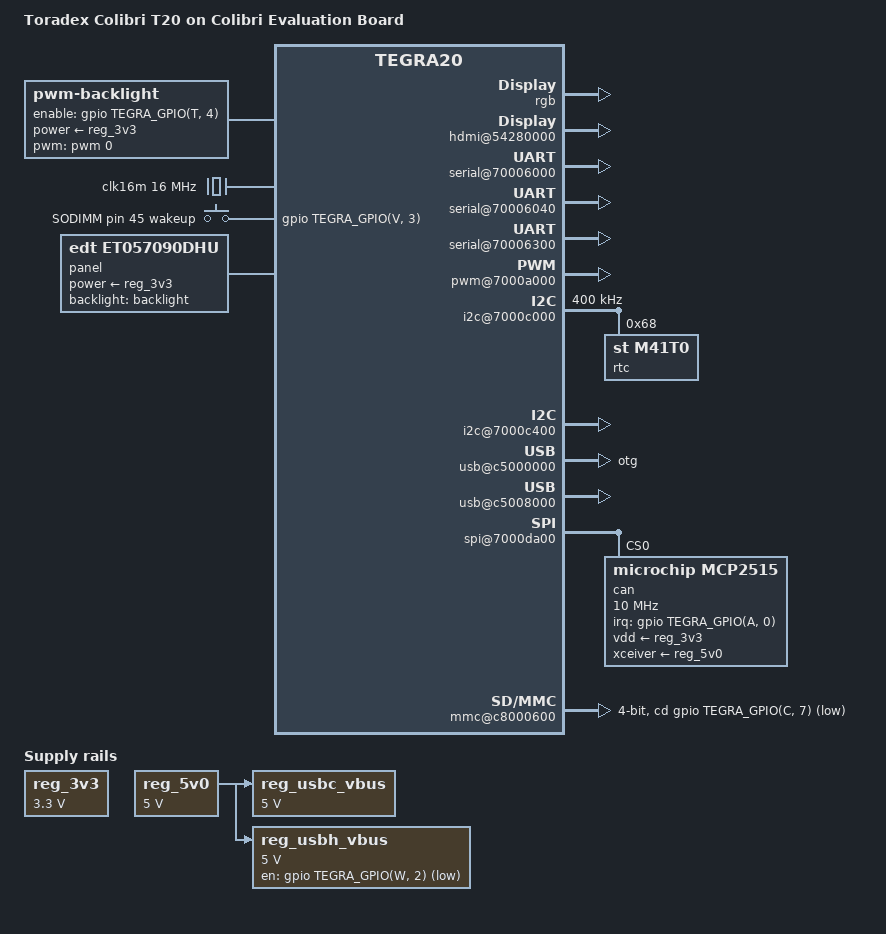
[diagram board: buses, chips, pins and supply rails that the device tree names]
// SPDX-License-Identifier: GPL-2.0 OR MIT
/dts-v1/;

#include <dt-bindings/input/input.h>
#include "tegra20-colibri.dtsi"

/ {
	model = "Toradex Colibri T20 on Colibri Evaluation Board";
	compatible = "toradex,colibri_t20-eval-v3", "toradex,colibri_t20",
		     "nvidia,tegra20";

	aliases {
		rtc0 = "/i2c@7000c000/rtc@68";
		rtc1 = "/i2c@7000d000/pmic@34";
		rtc2 = "/rtc@7000e000";
		serial0 = &uarta;
		serial1 = &uartd;
		serial2 = &uartb;
	};

	chosen {
		stdout-path = "serial0:115200n8";
	};

	host1x@50000000 {
		dc@54200000 {
			rgb {
				status = "okay";
				nvidia,panel = <&panel>;
			};
		};

		hdmi@54280000 {
			status = "okay";
			hdmi-supply = <&reg_5v0>;
		};
	};

	pinmux@70000014 {
		state_default: pinmux {
			bl-on {
				nvidia,tristate = <TEGRA_PIN_DISABLE>;
			};

			ddc {
				nvidia,tristate = <TEGRA_PIN_DISABLE>;
			};

			hotplug-detect {
				nvidia,tristate = <TEGRA_PIN_DISABLE>;
			};

			i2c {
				nvidia,tristate = <TEGRA_PIN_DISABLE>;
			};

			lcd {
				nvidia,tristate = <TEGRA_PIN_DISABLE>;
			};

			lm1 {
				nvidia,tristate = <TEGRA_PIN_DISABLE>;
			};

			mmc {
				nvidia,tristate = <TEGRA_PIN_DISABLE>;
			};

			mmccd {
				nvidia,tristate = <TEGRA_PIN_DISABLE>;
			};

			sdc {
				nvidia,tristate = <TEGRA_PIN_DISABLE>;
			};

			sdb_sdd {
				nvidia,tristate = <TEGRA_PIN_DISABLE>;
			};

			ssp {
				nvidia,tristate = <TEGRA_PIN_DISABLE>;
			};

			uart-a {
				nvidia,tristate = <TEGRA_PIN_DISABLE>;
			};

			uart-b {
				nvidia,tristate = <TEGRA_PIN_DISABLE>;
			};

			uart-c {
				nvidia,tristate = <TEGRA_PIN_DISABLE>;
			};

			usbh-pen {
				nvidia,tristate = <TEGRA_PIN_DISABLE>;
			};
		};
	};

	/* Colibri UART-A */
	serial@70006000 {
		status = "okay";
	};

	/* Colibri UART-C */
	serial@70006040 {
		status = "okay";
	};

	/* Colibri UART-B */
	serial@70006300 {
		status = "okay";
	};

	pwm@7000a000 {
		status = "okay";
	};

	/*
	 * GEN1_I2C: I2C_SDA/SCL on SODIMM pin 194/196 (e.g. RTC on carrier
	 * board)
	 */
	i2c@7000c000 {
		status = "okay";
		clock-frequency = <400000>;

		/* M41T0M6 real time clock on carrier board */
		rtc@68 {
			compatible = "st,m41t0";
			reg = <0x68>;
		};
	};

	/* GEN2_I2C: unused */

	/* CAM_I2C (I2C3): unused */

	/* DDC_CLOCK/DATA on X3 pin 15/16 (e.g. display EDID) */
	i2c@7000c400 {
		status = "okay";
	};

	/* EHCI instance 0: USB1_DP/N -> USBC_P/N */
	usb@c5000000 {
		status = "okay";
		dr_mode = "otg";
	};

	usb-phy@c5000000 {
		status = "okay";
		vbus-supply = <&reg_usbc_vbus>;
	};

	/* EHCI instance 2: USB3_DP/N -> USBH_P/N */
	usb@c5008000 {
		status = "okay";
	};

	usb-phy@c5008000 {
		status = "okay";
		vbus-supply = <&reg_usbh_vbus>;
	};

	/* SPI4: Colibri SSP */
	spi@7000da00 {
		status = "okay";
		spi-max-frequency = <25000000>;

		can@0 {
			compatible = "microchip,mcp2515";
			reg = <0>;
			clocks = <&clk16m>;
			interrupt-parent = <&gpio>;
			/* CAN_INT */
			interrupts = <TEGRA_GPIO(A, 0) IRQ_TYPE_EDGE_FALLING>;
			spi-max-frequency = <10000000>;
			vdd-supply = <&reg_3v3>;
			xceiver-supply = <&reg_5v0>;
		};
	};

	/* SD/MMC */
	mmc@c8000600 {
		status = "okay";
		bus-width = <4>;
		cd-gpios = <&gpio TEGRA_GPIO(C, 7) GPIO_ACTIVE_LOW>; /* MMCD */
		no-1-8-v;
	};

	backlight: backlight {
		compatible = "pwm-backlight";
		brightness-levels = <255 128 64 32 16 8 4 0>;
		default-brightness-level = <6>;
		/* BL_ON */
		enable-gpios = <&gpio TEGRA_GPIO(T, 4) GPIO_ACTIVE_HIGH>;
		power-supply = <&reg_3v3>;
		pwms = <&pwm 0 5000000>; /* PWM<A> */
	};

	clk16m: osc3 {
		compatible = "fixed-clock";
		#clock-cells = <0>;
		clock-frequency = <16000000>;
	};

	gpio-keys {
		compatible = "gpio-keys";

		key-wakeup {
			label = "SODIMM pin 45 wakeup";
			gpios = <&gpio TEGRA_GPIO(V, 3) GPIO_ACTIVE_HIGH>;
			linux,code = <KEY_WAKEUP>;
			debounce-interval = <10>;
			wakeup-source;
		};
	};

	panel: panel {
		/*
		 * edt,et057090dhu: EDT 5.7" LCD TFT
		 * edt,et070080dh6: EDT 7.0" LCD TFT
		 */
		compatible = "edt,et057090dhu";
		backlight = <&backlight>;
		power-supply = <&reg_3v3>;
	};

	reg_3v3: regulator-3v3 {
		compatible = "regulator-fixed";
		regulator-name = "3.3V_SW";
		regulator-min-microvolt = <3300000>;
		regulator-max-microvolt = <3300000>;
	};

	reg_5v0: regulator-5v0 {
		compatible = "regulator-fixed";
		regulator-name = "5V_SW";
		regulator-min-microvolt = <5000000>;
		regulator-max-microvolt = <5000000>;
	};

	reg_usbc_vbus: regulator-usbc-vbus {
		compatible = "regulator-fixed";
		regulator-name = "VCC_USB5";
		regulator-min-microvolt = <5000000>;
		regulator-max-microvolt = <5000000>;
		vin-supply = <&reg_5v0>;
	};

	/* USBH_PEN resp. USB_P_EN */
	reg_usbh_vbus: regulator-usbh-vbus {
		compatible = "regulator-fixed";
		regulator-name = "VCC_USB[1-4]";
		regulator-min-microvolt = <5000000>;
		regulator-max-microvolt = <5000000>;
		gpio = <&gpio TEGRA_GPIO(W, 2) GPIO_ACTIVE_LOW>;
		vin-supply = <&reg_5v0>;
	};
};
